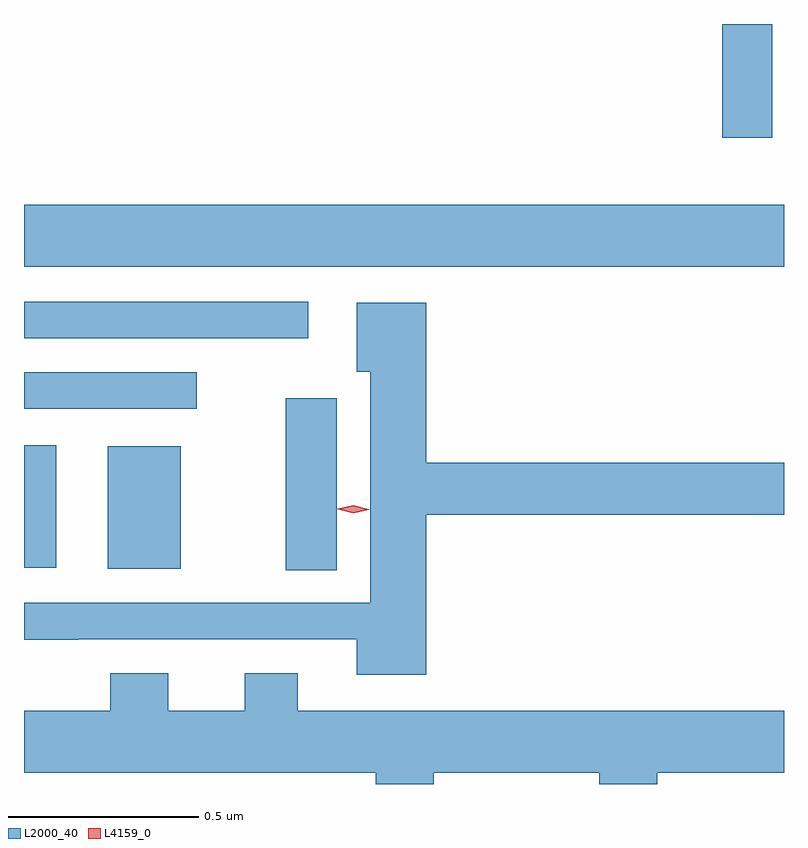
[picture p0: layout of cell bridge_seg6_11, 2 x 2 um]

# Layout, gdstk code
import gdstk
lib = gdstk.Library(unit=1e-6, precision=1e-09)
def R(c, l, rs):  # rectangles x0, y0, x1, y1
    for r in rs: c.add(gdstk.rectangle(r[:2], r[2:], *l))
def P(c, l, *ps):  # polygons
    for p in ps: c.add(gdstk.Polygon(p, *l))
L2000_40 = (2000, 40)
L4159_0 = (4159, 0)

bridge_seg6_11 = lib.new_cell('bridge_seg6_11')
R(bridge_seg6_11, L2000_40, [(954.338,978.505,954.472,978.958), (953.87,978.509,954.061,978.832), (953.649,978.512,953.734,978.835), (953.649,978.93,954.103,979.026), (953.649,979.116,954.397,979.212), (953.649,979.304,955.649,979.468), (955.487,979.644,955.618,979.943)])
P(bridge_seg6_11, L2000_40, [(954.707,978.652),(955.649,978.652),(955.649,978.788),(954.707,978.788),(954.707,979.21),(954.524,979.21),(954.524,979.028),(954.56,979.028),(954.56,978.42),(953.649,978.42),(953.649,978.323),(953.792,978.323),(953.792,978.324),(954.524,978.324),(954.524,978.23),(954.707,978.23)],
  [(954.727,977.972),(955.163,977.972),(955.163,977.943),(955.316,977.943),(955.316,977.972),(955.649,977.972),(955.649,978.136),(954.37,978.136),(954.37,978.235),(954.23,978.235),(954.23,978.136),(954.028,978.136),(954.028,978.235),(953.876,978.235),(953.876,978.136),(953.649,978.136),(953.649,977.972),(954.575,977.972),(954.575,977.943),(954.727,977.943)])
P(bridge_seg6_11, L4159_0, [(954.515,978.656),(954.474,978.666),(954.474,978.666),(954.474,978.667),(954.515,978.676),(954.556,978.666),(954.556,978.665),(954.556,978.665)])

lib.write_gds('bridge_seg6_11.gds')
